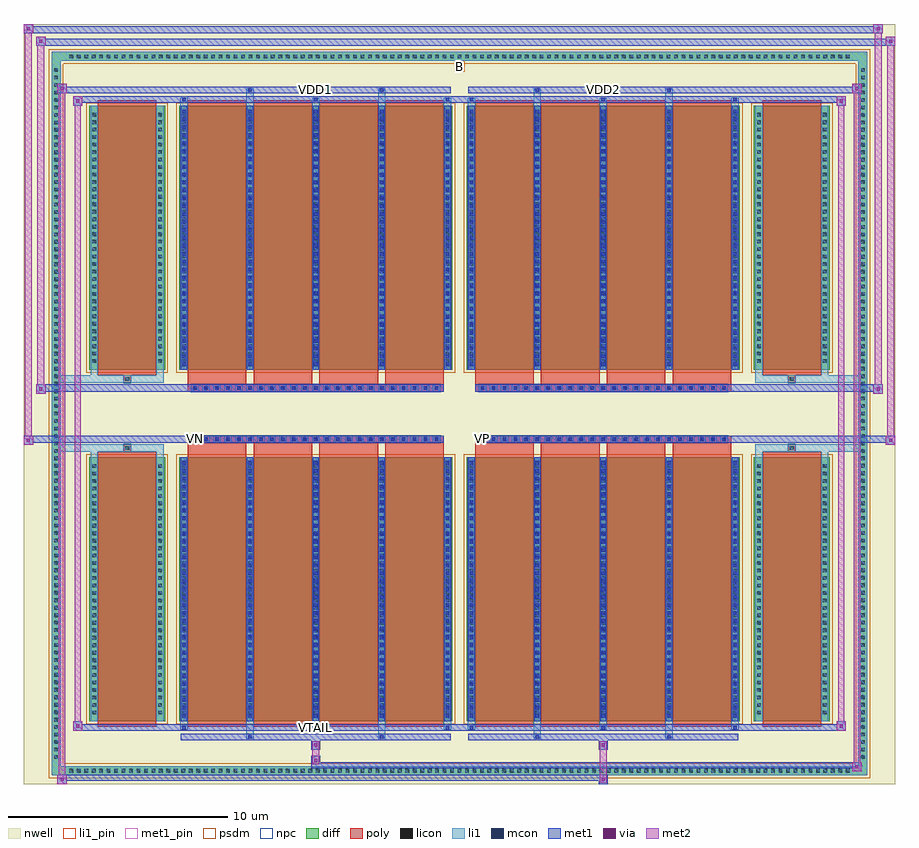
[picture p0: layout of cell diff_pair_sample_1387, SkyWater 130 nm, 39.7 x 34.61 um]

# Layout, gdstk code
import gdstk
lib = gdstk.Library(unit=1e-6, precision=5e-09)
def R(c, l, rs):  # rectangles x0, y0, x1, y1
    for r in rs: c.add(gdstk.rectangle(r[:2], r[2:], *l))
def A(c, l, x, y, w, h, nx, ny, dx, dy):  # array of equal rectangles
    R(c, l, [(x+i*dx, y+j*dy, x+i*dx+w, y+j*dy+h) for i in range(nx) for j in range(ny)])
def P(c, l, *ps):  # polygons
    for p in ps: c.add(gdstk.Polygon(p, *l))
nwell = (64, 20)
diff = (65, 20)
poly = (66, 20)
licon = (66, 44)
li1_pin = (67, 16)
li1 = (67, 20)
mcon = (67, 44)
met1_pin = (68, 16)
met1 = (68, 20)
via = (68, 44)
met2 = (69, 20)
psdm = (94, 20)
npc = (95, 20)

diff_pair_sample_1387 = lib.new_cell('diff_pair_sample_1387')
R(diff_pair_sample_1387, nwell, [(-19.85,-16.87,19.85,17.74), (-17.17,-15.06,-0.01,-0.8), (0.01,-15.06,17.17,-0.8), (-17.17,0.8,-0.01,15.06), (0.01,0.8,17.17,15.06)])
A(diff_pair_sample_1387, diff, -17.885, -16.47, 0.41, 0.41, 105, 2, 0.34, 32.53)
A(diff_pair_sample_1387, diff, -18.58, -15.845, 0.41, 0.41, 1, 93, 0, 0.34)
A(diff_pair_sample_1387, diff, 18.17, -15.845, 0.41, 0.41, 1, 93, 0, 0.34)
R(diff_pair_sample_1387, diff, [(-17.885,-16.47,17.885,-16.06), (-18.58,-15.845,-18.17,15.845), (18.17,-15.845,18.58,15.845), (-16.86,-14.015,-13.41,-1.985), (-12.77,-14.015,-0.32,-1.985), (0.32,-14.015,12.77,-1.985), (13.41,-14.015,16.86,-1.985), (-16.86,1.985,-13.41,14.015), (-12.77,1.985,-0.32,14.015), (0.32,1.985,12.77,14.015), (13.41,1.985,16.86,14.015), (-17.885,16.06,17.885,16.47)])
P(diff_pair_sample_1387, diff, [(18.58,16.47),(-18.58,16.47),(-18.58,-16.06),(-18.17,-16.06),(-18.17,16.06),(18.17,16.06),(18.17,-16.06),(-18.17,-16.06),(-18.58,-16.06),(-18.58,-16.47),(18.58,-16.47)])
A(diff_pair_sample_1387, poly, -12.38, -14.265, 2.67, 12.53, 4, 2, 3, 16)
A(diff_pair_sample_1387, poly, 0.71, -14.265, 2.67, 12.53, 4, 2, 3, 16)
A(diff_pair_sample_1387, poly, -12.38, -1.735, 2.67, 0.405, 4, 2, 3, 3.065)
A(diff_pair_sample_1387, poly, 0.71, -1.735, 2.67, 0.405, 4, 2, 3, 3.065)
A(diff_pair_sample_1387, poly, -12.21, -1.33, 0.33, 0.33, 23, 2, 0.5, 2.33)
A(diff_pair_sample_1387, poly, 0.88, -1.33, 0.33, 0.33, 23, 2, 0.5, 2.33)
R(diff_pair_sample_1387, poly, [(-16.47,-14.265,-13.8,-1.735), (13.8,-14.265,16.47,-1.735), (-15.3,-1.735,-14.97,-1.405), (-15.3,-1.735,-14.97,-1.405), (14.97,-1.735,15.3,-1.405), (14.97,-1.735,15.3,-1.405), (-12.38,-1.33,-0.71,-1), (0.71,-1.33,12.38,-1), (-12.38,1,-0.71,1.33), (0.71,1,12.38,1.33), (-15.3,1.405,-14.97,1.735), (-15.3,1.405,-14.97,1.735), (14.97,1.405,15.3,1.735), (14.97,1.405,15.3,1.735), (-16.47,1.735,-13.8,14.265), (13.8,1.735,16.47,14.265)])
A(diff_pair_sample_1387, licon, -17.765, -16.35, 0.17, 0.17, 105, 2, 0.34, 32.53)
A(diff_pair_sample_1387, licon, -18.46, -15.725, 0.17, 0.17, 1, 93, 0, 0.34)
A(diff_pair_sample_1387, licon, 18.29, -15.725, 0.17, 0.17, 1, 93, 0, 0.34)
A(diff_pair_sample_1387, licon, -16.72, -13.695, 0.17, 0.17, 1, 34, 0, 0.34)
A(diff_pair_sample_1387, licon, -13.72, -13.695, 0.17, 0.17, 1, 34, 0, 0.34)
A(diff_pair_sample_1387, licon, -12.63, -13.695, 0.17, 0.17, 5, 34, 3, 0.34)
A(diff_pair_sample_1387, licon, 0.46, -13.695, 0.17, 0.17, 5, 34, 3, 0.34)
A(diff_pair_sample_1387, licon, 13.55, -13.695, 0.17, 0.17, 1, 34, 0, 0.34)
A(diff_pair_sample_1387, licon, 16.55, -13.695, 0.17, 0.17, 1, 34, 0, 0.34)
A(diff_pair_sample_1387, licon, -12.13, -1.25, 0.17, 0.17, 23, 2, 0.5, 2.33)
A(diff_pair_sample_1387, licon, 0.96, -1.25, 0.17, 0.17, 23, 2, 0.5, 2.33)
A(diff_pair_sample_1387, licon, -16.72, 2.305, 0.17, 0.17, 1, 34, 0, 0.34)
A(diff_pair_sample_1387, licon, -13.72, 2.305, 0.17, 0.17, 1, 34, 0, 0.34)
A(diff_pair_sample_1387, licon, -12.63, 2.305, 0.17, 0.17, 5, 34, 3, 0.34)
A(diff_pair_sample_1387, licon, 0.46, 2.305, 0.17, 0.17, 5, 34, 3, 0.34)
A(diff_pair_sample_1387, licon, 13.55, 2.305, 0.17, 0.17, 1, 34, 0, 0.34)
A(diff_pair_sample_1387, licon, 16.55, 2.305, 0.17, 0.17, 1, 34, 0, 0.34)
R(diff_pair_sample_1387, licon, [(-15.22,-1.655,-15.05,-1.485), (15.05,-1.655,15.22,-1.485), (-15.22,1.485,-15.05,1.655), (15.05,1.485,15.22,1.655)])
R(diff_pair_sample_1387, li1_pin, [(-0.25,15.56,0.25,16.06)])
A(diff_pair_sample_1387, li1, -17.845, -16.43, 0.33, 0.33, 105, 2, 0.34, 32.53)
A(diff_pair_sample_1387, li1, -18.54, -15.805, 0.33, 0.33, 1, 93, 0, 0.34)
A(diff_pair_sample_1387, li1, 18.21, -15.805, 0.33, 0.33, 1, 93, 0, 0.34)
A(diff_pair_sample_1387, li1, -12.71, -14.39, 0.33, 0.375, 3, 2, 6, 28.405)
A(diff_pair_sample_1387, li1, -12.63, -14.39, 0.17, 0.17, 3, 2, 6, 28.61)
A(diff_pair_sample_1387, li1, 0.38, -14.39, 0.33, 0.375, 3, 2, 6, 28.405)
A(diff_pair_sample_1387, li1, 0.46, -14.39, 0.17, 0.17, 3, 2, 6, 28.61)
A(diff_pair_sample_1387, li1, -12.71, -14.015, 0.33, 12.03, 5, 2, 3, 16)
A(diff_pair_sample_1387, li1, 0.38, -14.015, 0.33, 12.03, 5, 2, 3, 16)
A(diff_pair_sample_1387, li1, -12.63, -13.845, 0.17, 0.17, 5, 33, 3, 0.36)
A(diff_pair_sample_1387, li1, -12.63, -13.845, 0.17, 11.69, 5, 2, 3, 16)
A(diff_pair_sample_1387, li1, 0.46, -13.845, 0.17, 0.17, 5, 33, 3, 0.36)
A(diff_pair_sample_1387, li1, 0.46, -13.845, 0.17, 11.69, 5, 2, 3, 16)
A(diff_pair_sample_1387, li1, -16.8, -13.775, 0.33, 0.33, 1, 34, 0, 0.34)
A(diff_pair_sample_1387, li1, -13.8, -13.775, 0.33, 0.33, 1, 34, 0, 0.34)
A(diff_pair_sample_1387, li1, -12.71, -13.775, 0.33, 0.33, 5, 34, 3, 0.34)
A(diff_pair_sample_1387, li1, 0.38, -13.775, 0.33, 0.33, 5, 34, 3, 0.34)
A(diff_pair_sample_1387, li1, 13.47, -13.775, 0.33, 0.33, 1, 34, 0, 0.34)
A(diff_pair_sample_1387, li1, 16.47, -13.775, 0.33, 0.33, 1, 34, 0, 0.34)
A(diff_pair_sample_1387, li1, -12.21, -1.33, 0.33, 0.33, 23, 2, 0.5, 2.33)
A(diff_pair_sample_1387, li1, 0.88, -1.33, 0.33, 0.33, 23, 2, 0.5, 2.33)
A(diff_pair_sample_1387, li1, -12.63, 2.155, 0.17, 0.17, 5, 33, 3, 0.36)
A(diff_pair_sample_1387, li1, 0.46, 2.155, 0.17, 0.17, 5, 33, 3, 0.36)
A(diff_pair_sample_1387, li1, -16.8, 2.225, 0.33, 0.33, 1, 34, 0, 0.34)
A(diff_pair_sample_1387, li1, -13.8, 2.225, 0.33, 0.33, 1, 34, 0, 0.34)
A(diff_pair_sample_1387, li1, -12.71, 2.225, 0.33, 0.33, 5, 34, 3, 0.34)
A(diff_pair_sample_1387, li1, 0.38, 2.225, 0.33, 0.33, 5, 34, 3, 0.34)
A(diff_pair_sample_1387, li1, 13.47, 2.225, 0.33, 0.33, 1, 34, 0, 0.34)
A(diff_pair_sample_1387, li1, 16.47, 2.225, 0.33, 0.33, 1, 34, 0, 0.34)
R(diff_pair_sample_1387, li1, [(-18.58,-16.47,-18.17,-16.06), (-18.58,-16.47,-18.17,-16.06), (-18.17,-16.47,18.17,-16.06), (18.17,-16.47,18.58,-16.06), (18.17,-16.47,18.58,-16.06), (-18.58,-16.06,-18.17,16.06), (18.17,-16.06,18.58,16.06), (-9.71,-14.82,-9.38,-14.015), (-9.63,-14.82,-9.46,-14.65), (-3.71,-14.82,-3.38,-14.015), (-3.63,-14.82,-3.46,-14.65), (3.38,-14.82,3.71,-14.015), (3.46,-14.82,3.63,-14.65), (9.38,-14.82,9.71,-14.015), (9.46,-14.82,9.63,-14.65), (-16.8,-14.015,-16.47,-1.985), (-13.8,-14.015,-13.47,-1.985), (13.47,-14.015,13.8,-1.985), (16.47,-14.015,16.8,-1.985), (-16.8,-1.985,-16.47,-1.405), (-13.8,-1.985,-13.47,-1.405), (13.47,-1.985,13.8,-1.405), (16.47,-1.985,16.8,-1.405), (-18.58,-1.735,-15.3,-1.405), (-16.8,-1.735,-15.3,-1.405), (-15.3,-1.735,-14.97,-1.405), (-14.97,-1.735,-13.47,-1.405), (13.47,-1.735,14.97,-1.405), (14.97,-1.735,15.3,-1.405), (14.97,-1.735,18.58,-1.405), (15.3,-1.735,16.8,-1.405), (-18.58,1.405,-15.3,1.735), (-16.8,1.405,-15.3,1.735), (-16.8,1.405,-16.47,1.985), (-15.3,1.405,-14.97,1.735), (-14.97,1.405,-13.47,1.735), (-13.8,1.405,-13.47,1.985), (13.47,1.405,14.97,1.735), (13.47,1.405,13.8,1.985), (14.97,1.405,15.3,1.735), (14.97,1.405,18.58,1.735), (15.3,1.405,16.8,1.735), (16.47,1.405,16.8,1.985), (-16.8,1.985,-16.47,14.015), (-13.8,1.985,-13.47,14.015), (13.47,1.985,13.8,14.015), (16.47,1.985,16.8,14.015), (-9.71,14.015,-9.38,14.82), (-3.71,14.015,-3.38,14.82), (3.38,14.015,3.71,14.82), (9.38,14.015,9.71,14.82), (-9.63,14.65,-9.46,14.82), (-3.63,14.65,-3.46,14.82), (3.46,14.65,3.63,14.82), (9.46,14.65,9.63,14.82), (-18.58,16.06,-18.17,16.47), (-18.58,16.06,-18.17,16.47), (-18.17,16.06,18.17,16.47), (18.17,16.06,18.58,16.47), (18.17,16.06,18.58,16.47)])
A(diff_pair_sample_1387, mcon, -12.63, -14.39, 0.17, 0.17, 3, 2, 6, 28.61)
A(diff_pair_sample_1387, mcon, 0.46, -14.39, 0.17, 0.17, 3, 2, 6, 28.61)
A(diff_pair_sample_1387, mcon, -12.63, -13.845, 0.17, 0.17, 5, 33, 3, 0.36)
A(diff_pair_sample_1387, mcon, 0.46, -13.845, 0.17, 0.17, 5, 33, 3, 0.36)
A(diff_pair_sample_1387, mcon, -12.13, -1.25, 0.17, 0.17, 23, 2, 0.5, 2.33)
A(diff_pair_sample_1387, mcon, 0.96, -1.25, 0.17, 0.17, 23, 2, 0.5, 2.33)
A(diff_pair_sample_1387, mcon, -12.63, 2.155, 0.17, 0.17, 5, 33, 3, 0.36)
A(diff_pair_sample_1387, mcon, 0.46, 2.155, 0.17, 0.17, 5, 33, 3, 0.36)
R(diff_pair_sample_1387, mcon, [(-9.63,-14.82,-9.46,-14.65), (-3.63,-14.82,-3.46,-14.65), (3.46,-14.82,3.63,-14.65), (9.46,-14.82,9.63,-14.65), (-9.63,14.65,-9.46,14.82), (-3.63,14.65,-3.46,14.82), (3.46,14.65,3.63,14.82), (9.46,14.65,9.63,14.82)])
R(diff_pair_sample_1387, met1_pin, [(-6.68,-14.43,-6.41,-14.16), (-12.18,-1.29,-11.91,-1.02), (0.91,-1.29,1.18,-1.02), (-6.68,14.61,-6.41,14.88), (6.41,14.61,6.68,14.88)])
A(diff_pair_sample_1387, met1, -12.69, -14.45, 0.29, 0.29, 3, 2, 6, 28.61)
A(diff_pair_sample_1387, met1, 0.4, -14.45, 0.29, 0.29, 3, 2, 6, 28.61)
A(diff_pair_sample_1387, met1, -12.69, -14.015, 0.29, 12.03, 5, 2, 3, 16)
A(diff_pair_sample_1387, met1, 0.4, -14.015, 0.29, 12.03, 5, 2, 3, 16)
A(diff_pair_sample_1387, met1, -12.69, -13.905, 0.29, 0.29, 5, 33, 3, 0.36)
A(diff_pair_sample_1387, met1, 0.4, -13.905, 0.29, 0.29, 5, 33, 3, 0.36)
A(diff_pair_sample_1387, met1, -12.19, -1.31, 0.29, 0.29, 23, 2, 0.5, 2.33)
A(diff_pair_sample_1387, met1, 0.9, -1.31, 0.29, 0.29, 23, 2, 0.5, 2.33)
A(diff_pair_sample_1387, met1, -12.69, 2.095, 0.29, 0.29, 5, 33, 3, 0.36)
A(diff_pair_sample_1387, met1, 0.4, 2.095, 0.29, 0.29, 5, 33, 3, 0.36)
R(diff_pair_sample_1387, met1, [(-18.31,-16.87,-17.88,-16.44), (6.33,-16.87,6.76,-16.44), (-18.31,-16.73,6.76,-16.44), (17.88,-16.3,18.31,-15.87), (-6.76,-16.16,18.31,-15.87), (-6.76,-16.02,-6.33,-15.59), (-6.76,-15.31,-6.33,-14.88), (6.33,-15.31,6.76,-14.88), (-12.69,-14.88,-0.4,-14.59), (-9.69,-14.88,-9.4,-14.59), (-3.69,-14.88,-3.4,-14.59), (0.4,-14.88,12.69,-14.59), (3.4,-14.88,3.69,-14.59), (9.4,-14.88,9.69,-14.59), (-17.6,-14.45,-17.17,-14.02), (-17.6,-14.45,-12.69,-14.16), (-12.69,-14.45,-0.4,-14.16), (-0.4,-14.45,0.4,-14.16), (0.4,-14.45,12.69,-14.16), (12.69,-14.45,17.6,-14.16), (17.17,-14.45,17.6,-14.02), (-19.85,-1.43,-19.42,-1), (19.42,-1.43,19.85,-1), (-19.85,-1.33,-0.71,-1), (-12.38,-1.33,-0.71,-1), (0.71,-1.33,12.38,-1), (0.71,-1.33,19.85,-1), (-19.28,0.9,-18.85,1.33), (18.85,0.9,19.28,1.33), (-19.28,1,-12.38,1.33), (-12.38,1,-0.71,1.33), (0.71,1,12.38,1.33), (12.38,1,19.28,1.33), (-17.6,14.02,-17.17,14.45), (17.17,14.02,17.6,14.45), (-17.6,14.16,-12.69,14.45), (-12.69,14.16,-0.4,14.45), (-0.4,14.16,0.4,14.45), (0.4,14.16,12.69,14.45), (12.69,14.16,17.6,14.45), (-18.31,14.59,-17.88,15.02), (-18.31,14.59,-12.69,14.88), (-12.69,14.59,-0.4,14.88), (-9.69,14.59,-9.4,14.88), (-3.69,14.59,-3.4,14.88), (0.4,14.59,12.69,14.88), (3.4,14.59,3.69,14.88), (9.4,14.59,9.69,14.88), (12.69,14.59,18.31,14.88), (17.88,14.59,18.31,15.02), (-19.28,16.74,-18.85,17.17), (-19.28,16.74,-17.17,17.07), (-17.17,16.74,17.17,17.07), (17.17,16.74,19.85,17.07), (19.42,16.74,19.85,17.17), (-19.85,17.31,-19.42,17.74), (-19.85,17.31,-17.17,17.64), (-17.17,17.31,17.17,17.64), (17.17,17.31,19.28,17.64), (18.85,17.31,19.28,17.74)])
R(diff_pair_sample_1387, via, [(-18.17,-16.73,-18.02,-16.58), (6.47,-16.73,6.62,-16.58), (18.02,-16.16,18.17,-16.01), (-6.62,-15.88,-6.47,-15.73), (-6.62,-15.17,-6.47,-15.02), (6.47,-15.17,6.62,-15.02), (-17.46,-14.31,-17.31,-14.16), (17.31,-14.31,17.46,-14.16), (-19.71,-1.29,-19.56,-1.14), (19.56,-1.29,19.71,-1.14), (-19.14,1.04,-18.99,1.19), (18.99,1.04,19.14,1.19), (-17.46,14.16,-17.31,14.31), (17.31,14.16,17.46,14.31), (-18.17,14.73,-18.02,14.88), (18.02,14.73,18.17,14.88), (-19.14,16.88,-18.99,17.03), (19.56,16.88,19.71,17.03), (-19.71,17.45,-19.56,17.6), (18.99,17.45,19.14,17.6)])
R(diff_pair_sample_1387, met2, [(-18.31,-16.87,-17.88,-16.44), (-18.24,-16.87,-17.95,15.02), (-17.95,-16.87,-17.88,-16.44), (-18.26,-16.82,-17.93,-16.49), (6.38,-16.82,6.71,-16.49), (6.38,-16.49,6.71,-15.26), (17.88,-16.3,18.31,-15.87), (17.95,-16.3,18.24,15.02), (18.24,-16.3,18.31,-15.87), (17.93,-16.25,18.26,-15.92), (-6.71,-15.97,-6.38,-15.64), (-6.71,-15.64,-6.38,-15.26), (-6.71,-15.26,-6.38,-14.93), (6.38,-15.26,6.71,-14.93), (-17.6,-14.45,-17.17,-14.02), (-17.53,-14.45,-17.24,14.45), (-17.24,-14.45,-17.17,-14.02), (17.17,-14.45,17.6,-14.02), (17.24,-14.45,17.53,14.45), (17.53,-14.45,17.6,-14.02), (-17.55,-14.4,-17.22,-14.07), (17.22,-14.4,17.55,-14.07), (-19.85,-1.43,-19.42,-1), (-19.8,-1.43,-19.47,17.74), (-19.47,-1.43,-19.42,-1), (19.42,-1.43,19.85,-1), (19.47,-1.43,19.8,17.17), (19.8,-1.43,19.85,-1), (-19.8,-1.38,-19.47,-1.05), (19.47,-1.38,19.8,-1.05), (-19.28,0.9,-18.85,1.33), (-19.23,0.9,-18.9,17.17), (-18.9,0.9,-18.85,1.33), (18.85,0.9,19.28,1.33), (18.9,0.9,19.23,17.74), (19.23,0.9,19.28,1.33), (-19.23,0.95,-18.9,1.28), (18.9,0.95,19.23,1.28), (-17.6,14.02,-17.17,14.45), (-17.24,14.02,-17.17,14.45), (17.17,14.02,17.6,14.45), (17.53,14.02,17.6,14.45), (-17.55,14.07,-17.22,14.4), (17.22,14.07,17.55,14.4), (-18.31,14.59,-17.88,15.02), (-17.95,14.59,-17.88,15.02), (17.88,14.59,18.31,15.02), (18.24,14.59,18.31,15.02), (-18.26,14.64,-17.93,14.97), (17.93,14.64,18.26,14.97), (-19.28,16.74,-18.85,17.17), (-18.9,16.74,-18.85,17.17), (19.42,16.74,19.85,17.17), (19.8,16.74,19.85,17.17), (-19.23,16.79,-18.9,17.12), (19.47,16.79,19.8,17.12), (-19.85,17.31,-19.42,17.74), (-19.47,17.31,-19.42,17.74), (18.85,17.31,19.28,17.74), (19.23,17.31,19.28,17.74), (-19.8,17.36,-19.47,17.69), (18.9,17.36,19.23,17.69)])
R(diff_pair_sample_1387, psdm, [(-16.99,-14.145,-13.28,-1.855), (-12.9,-14.145,-0.19,-1.855), (0.19,-14.145,12.9,-1.855), (13.28,-14.145,16.99,-1.855), (-16.99,1.855,-13.28,14.145), (-12.9,1.855,-0.19,14.145), (0.19,1.855,12.9,14.145), (13.28,1.855,16.99,14.145)])
P(diff_pair_sample_1387, psdm, [(18.71,16.6),(-18.71,16.6),(-18.71,-15.93),(-18.04,-15.93),(-18.04,15.93),(18.04,15.93),(18.04,-15.93),(-18.04,-15.93),(-18.71,-15.93),(-18.71,-16.6),(18.71,-16.6)])
A(diff_pair_sample_1387, npc, -12.23, -1.35, 0.37, 0.37, 23, 2, 0.5, 2.33)
A(diff_pair_sample_1387, npc, 0.86, -1.35, 0.37, 0.37, 23, 2, 0.5, 2.33)
R(diff_pair_sample_1387, npc, [(-15.32,-1.755,-14.95,-1.385), (14.95,-1.755,15.32,-1.385), (-12.23,-1.35,-11.36,-0.98), (-12.23,-1.35,-11.36,-0.98), (-11.73,-1.35,-10.86,-0.98), (-11.73,-1.35,-10.86,-0.98), (-11.23,-1.35,-10.36,-0.98), (-11.23,-1.35,-10.36,-0.98), (-10.73,-1.35,-9.86,-0.98), (-10.73,-1.35,-9.86,-0.98), (-10.23,-1.35,-9.36,-0.98), (-10.23,-1.35,-9.36,-0.98), (-9.73,-1.35,-8.86,-0.98), (-9.73,-1.35,-8.86,-0.98), (-9.23,-1.35,-8.36,-0.98), (-9.23,-1.35,-8.36,-0.98), (-8.73,-1.35,-7.86,-0.98), (-8.73,-1.35,-7.86,-0.98), (-8.23,-1.35,-7.36,-0.98), (-8.23,-1.35,-7.36,-0.98), (-7.73,-1.35,-6.86,-0.98), (-7.73,-1.35,-6.86,-0.98), (-7.23,-1.35,-6.36,-0.98), (-7.23,-1.35,-6.36,-0.98), (-6.73,-1.35,-5.86,-0.98), (-6.73,-1.35,-5.86,-0.98), (-6.23,-1.35,-5.36,-0.98), (-6.23,-1.35,-5.36,-0.98), (-5.73,-1.35,-4.86,-0.98), (-5.73,-1.35,-4.86,-0.98), (-5.23,-1.35,-4.36,-0.98), (-5.23,-1.35,-4.36,-0.98), (-4.73,-1.35,-3.86,-0.98), (-4.73,-1.35,-3.86,-0.98), (-4.23,-1.35,-3.36,-0.98), (-4.23,-1.35,-3.36,-0.98), (-3.73,-1.35,-2.86,-0.98), (-3.73,-1.35,-2.86,-0.98), (-3.23,-1.35,-2.36,-0.98), (-3.23,-1.35,-2.36,-0.98), (-2.73,-1.35,-1.86,-0.98), (-2.73,-1.35,-1.86,-0.98), (-2.23,-1.35,-1.36,-0.98), (-2.23,-1.35,-1.36,-0.98), (-1.73,-1.35,-0.86,-0.98), (-1.73,-1.35,-0.86,-0.98), (0.86,-1.35,1.73,-0.98), (0.86,-1.35,1.73,-0.98), (1.36,-1.35,2.23,-0.98), (1.36,-1.35,2.23,-0.98), (1.86,-1.35,2.73,-0.98), (1.86,-1.35,2.73,-0.98), (2.36,-1.35,3.23,-0.98), (2.36,-1.35,3.23,-0.98), (2.86,-1.35,3.73,-0.98), (2.86,-1.35,3.73,-0.98), (3.36,-1.35,4.23,-0.98), (3.36,-1.35,4.23,-0.98), (3.86,-1.35,4.73,-0.98), (3.86,-1.35,4.73,-0.98), (4.36,-1.35,5.23,-0.98), (4.36,-1.35,5.23,-0.98), (4.86,-1.35,5.73,-0.98), (4.86,-1.35,5.73,-0.98), (5.36,-1.35,6.23,-0.98), (5.36,-1.35,6.23,-0.98), (5.86,-1.35,6.73,-0.98), (5.86,-1.35,6.73,-0.98), (6.36,-1.35,7.23,-0.98), (6.36,-1.35,7.23,-0.98), (6.86,-1.35,7.73,-0.98), (6.86,-1.35,7.73,-0.98), (7.36,-1.35,8.23,-0.98), (7.36,-1.35,8.23,-0.98), (7.86,-1.35,8.73,-0.98), (7.86,-1.35,8.73,-0.98), (8.36,-1.35,9.23,-0.98), (8.36,-1.35,9.23,-0.98), (8.86,-1.35,9.73,-0.98), (8.86,-1.35,9.73,-0.98), (9.36,-1.35,10.23,-0.98), (9.36,-1.35,10.23,-0.98), (9.86,-1.35,10.73,-0.98), (9.86,-1.35,10.73,-0.98), (10.36,-1.35,11.23,-0.98), (10.36,-1.35,11.23,-0.98), (10.86,-1.35,11.73,-0.98), (10.86,-1.35,11.73,-0.98), (11.36,-1.35,12.23,-0.98), (11.36,-1.35,12.23,-0.98), (-12.23,0.98,-11.36,1.35), (-12.23,0.98,-11.36,1.35), (-11.73,0.98,-10.86,1.35), (-11.73,0.98,-10.86,1.35), (-11.23,0.98,-10.36,1.35), (-11.23,0.98,-10.36,1.35), (-10.73,0.98,-9.86,1.35), (-10.73,0.98,-9.86,1.35), (-10.23,0.98,-9.36,1.35), (-10.23,0.98,-9.36,1.35), (-9.73,0.98,-8.86,1.35), (-9.73,0.98,-8.86,1.35), (-9.23,0.98,-8.36,1.35), (-9.23,0.98,-8.36,1.35), (-8.73,0.98,-7.86,1.35), (-8.73,0.98,-7.86,1.35), (-8.23,0.98,-7.36,1.35), (-8.23,0.98,-7.36,1.35), (-7.73,0.98,-6.86,1.35), (-7.73,0.98,-6.86,1.35), (-7.23,0.98,-6.36,1.35), (-7.23,0.98,-6.36,1.35), (-6.73,0.98,-5.86,1.35), (-6.73,0.98,-5.86,1.35), (-6.23,0.98,-5.36,1.35), (-6.23,0.98,-5.36,1.35), (-5.73,0.98,-4.86,1.35), (-5.73,0.98,-4.86,1.35), (-5.23,0.98,-4.36,1.35), (-5.23,0.98,-4.36,1.35), (-4.73,0.98,-3.86,1.35), (-4.73,0.98,-3.86,1.35), (-4.23,0.98,-3.36,1.35), (-4.23,0.98,-3.36,1.35), (-3.73,0.98,-2.86,1.35), (-3.73,0.98,-2.86,1.35), (-3.23,0.98,-2.36,1.35), (-3.23,0.98,-2.36,1.35), (-2.73,0.98,-1.86,1.35), (-2.73,0.98,-1.86,1.35), (-2.23,0.98,-1.36,1.35), (-2.23,0.98,-1.36,1.35), (-1.73,0.98,-0.86,1.35), (-1.73,0.98,-0.86,1.35), (0.86,0.98,1.73,1.35), (0.86,0.98,1.73,1.35), (1.36,0.98,2.23,1.35), (1.36,0.98,2.23,1.35), (1.86,0.98,2.73,1.35), (1.86,0.98,2.73,1.35), (2.36,0.98,3.23,1.35), (2.36,0.98,3.23,1.35), (2.86,0.98,3.73,1.35), (2.86,0.98,3.73,1.35), (3.36,0.98,4.23,1.35), (3.36,0.98,4.23,1.35), (3.86,0.98,4.73,1.35), (3.86,0.98,4.73,1.35), (4.36,0.98,5.23,1.35), (4.36,0.98,5.23,1.35), (4.86,0.98,5.73,1.35), (4.86,0.98,5.73,1.35), (5.36,0.98,6.23,1.35), (5.36,0.98,6.23,1.35), (5.86,0.98,6.73,1.35), (5.86,0.98,6.73,1.35), (6.36,0.98,7.23,1.35), (6.36,0.98,7.23,1.35), (6.86,0.98,7.73,1.35), (6.86,0.98,7.73,1.35), (7.36,0.98,8.23,1.35), (7.36,0.98,8.23,1.35), (7.86,0.98,8.73,1.35), (7.86,0.98,8.73,1.35), (8.36,0.98,9.23,1.35), (8.36,0.98,9.23,1.35), (8.86,0.98,9.73,1.35), (8.86,0.98,9.73,1.35), (9.36,0.98,10.23,1.35), (9.36,0.98,10.23,1.35), (9.86,0.98,10.73,1.35), (9.86,0.98,10.73,1.35), (10.36,0.98,11.23,1.35), (10.36,0.98,11.23,1.35), (10.86,0.98,11.73,1.35), (10.86,0.98,11.73,1.35), (11.36,0.98,12.23,1.35), (11.36,0.98,12.23,1.35), (-15.32,1.385,-14.95,1.755), (14.95,1.385,15.32,1.755)])
diff_pair_sample_1387.add(gdstk.Label('VTAIL', (-6.545,-14.295), layer=68, texttype=5))
diff_pair_sample_1387.add(gdstk.Label('VN', (-12.045,-1.155), layer=68, texttype=5))
diff_pair_sample_1387.add(gdstk.Label('VP', (1.045,-1.155), layer=68, texttype=5))
diff_pair_sample_1387.add(gdstk.Label('B', (0,15.81), layer=67, texttype=5))
diff_pair_sample_1387.add(gdstk.Label('VDD2', (6.545,14.745), layer=68, texttype=5))
diff_pair_sample_1387.add(gdstk.Label('VDD1', (-6.545,14.745), layer=68, texttype=5))

lib.write_gds('diff_pair_sample_1387.gds')
